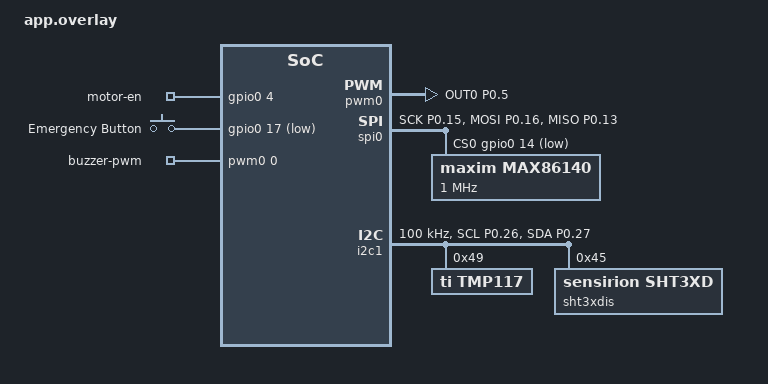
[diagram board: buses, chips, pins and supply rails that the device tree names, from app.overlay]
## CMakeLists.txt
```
# SPDX-License-Identifier: Apache-2.0
cmake_minimum_required(VERSION 3.20.0)

set(CMAKE_EXPORT_COMPILE_COMMANDS ON)
list(APPEND DTS_ROOT ${CMAKE_CURRENT_SOURCE_DIR}/dts)

find_package(Zephyr REQUIRED HINTS $ENV{ZEPHYR_BASE})
project(vitaband_firmware)

# Source logic based on your configs
if(CONFIG_VITABAND_BLINKY_BRINGUP)
  target_sources(app PRIVATE src/main_blinky.c)
elseif(CONFIG_VITABAND_MAX86140_HR_DEMO)
  target_sources(app PRIVATE src/main_max86140_hr.c drivers/src/max86140.c)
elseif(CONFIG_VITABAND_BLE_HR_BODY_TEST)
  target_sources(app PRIVATE src/main_ble_hr_body.c src/state_manager.c drivers/src/max86140.c drivers/src/tmp117.c)
else()
  # Default full application
  target_sources(app PRIVATE
    src/main.c src/power.c src/sensors.c src/haptics.c src/mock_sensors.c
    src/state_manager.c src/test.c drivers/src/max86140.c drivers/src/tmp117.c
    drivers/src/sht3x-dis.c drivers/src/alarm.c drivers/src/buzzer.c 
  )
endif()

if(CONFIG_BT)
  target_sources(app PRIVATE src/ble.c)
endif()

target_include_directories(app PUBLIC inc drivers/inc)
```

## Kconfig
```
# SPDX-License-Identifier: Apache-2.0

menu "VitaBand firmware"

config VITABAND_BLINKY_BRINGUP
	bool "PCB bring-up: minimal GPIO (MOTOR_EN + BUZZER_EN high)"
	default n
	help
	  Link only src/main_blinky.c (no sensors, haptics, shell, BLE). Use
	  prj_bringup.conf and pass exactly one overlay:
	    -DDTC_OVERLAY_FILE=app_bringup_min.overlay
	  printk via Segger RTT on DK.

config VITABAND_PWM_I2C_PIN_SCOPE
	bool "PWM scope on P0.26 / P0.27 (Arduino D14/D15; VitaBand I2C pads)"
	depends on !VITABAND_BLINKY_BRINGUP
	depends on !VITABAND_AMBIENT_PWM_DEMO
	depends on !VITABAND_SPARKFUN_TMP102_DK
	depends on !VITABAND_TMP117_I2C_DEMO
	default n
	help
	  pwm0 channels 1+2 → P0.26 + P0.27 at ~10 kHz (different duty cycles).
	  TWIM/SPI that mux those pins are disabled in app_pwm_i2c_pins_scope.overlay.
	  prj_pwm_i2c_pins_scope.conf + pass that overlay.

config VITABAND_AMBIENT_PWM_DEMO
	bool "SHT3x ambient: printk temp/RH on Segger RTT (I2C)"
	depends on !VITABAND_BLINKY_BRINGUP
	default n
	help
	  Link main_ambient_pwm.c only (Zephyr CONFIG_SHT3XD). Prints temperature and humidity
	  every 500 ms via RTT. Use prj_ambient_pwm.conf and pass overlay(s):
	    -DDTC_OVERLAY_FILE=app_ambient_pwm.overlay
	  On DK without VitaBand wiring, append:
	    app_ambient_pwm_i2c_dkswap.overlay

config VITABAND_MAX86140_HR_DEMO
	bool "MAX86140/41 HR (SPI): printk BPM on Segger RTT"
	depends on !VITABAND_BLINKY_BRINGUP
	depends on !VITABAND_AMBIENT_PWM_DEMO
	depends on !VITABAND_SPARKFUN_TMP102_DK
	depends on !VITABAND_TMP117_I2C_DEMO
	depends on !VITABAND_PWM_I2C_PIN_SCOPE
	default n
	help
	  Links drivers/src/max86140.c + main_max86140_hr.c. Default overlay uses DK
	  Arduino SPI (SPI3, CS=D10). VitaBand: edit app_max86140_hr.overlay for SPI pins + CS GPIO.
	  prj_max86140_hr.conf + app_max86140_hr.overlay.

config VITABAND_MAX86140_CS_GPIO_DEBUG
	bool "MAX86140: toggle CS GPIO at init for scope/meter bring-up"
	depends on VITABAND_MAX86140_HR_DEMO
	depends on GPIO
	default n
	help
	  Uses the same cs-gpios line as SPI (see overlay). Drives pin with
	  gpio_pin_configure (incl. Nordic NRF_GPIO_DRIVE_H0H1) then physical
	  high/low with ~10 s holds and uptime printk for RTT evidence.
	  Enable only for debugging; reboot after use if SPI behaves oddly.

config VITABAND_MAX86140_AGENT_LOG
	bool "MAX86140: NDJSON SPI read logs on RTT (MISO bring-up)"
	depends on VITABAND_MAX86140_HR_DEMO
	default n
	help
	  Emits one JSON line per early spi_transceive (ret, rx0, rx1, reg).
	  Capture with Segger RTT; paste into .cursor/debug-*.log or the chat for analysis.

config VITABAND_MAX86140_HR_PP_TRACE
	bool "MAX86140 HR: rate-limited IR pp/mean/thr/peaks line on RTT"
	depends on VITABAND_MAX86140_HR_DEMO
	default n
	help
	  Once per second (when samples exist), prints n, IR min/max, pp, mean, thr,
	  peak count, BPM — for validating contact and peak gating.

choice VITABAND_MAX86140_HR_PPG_MODE
	prompt "PPG rate (IR channel timing for HR math)"
	depends on VITABAND_MAX86140_HR_DEMO || VITABAND_BLE_HR_BODY_TEST || VITABAND_STATE_MACHINE_FIRMWARE
	default VITABAND_MAX86140_HR_PPG_100_IRRED
	help
	  Datasheet: N=2 (IR+Red) is only defined up to ~100 sps. For ~200 or ~400 sps
	  the part uses N=1 with LED1 (IR) only — no red channel (SpO2 not available).
	  512/1000 sps N=1 also exist; 500 sps is not a specific code (use 400 or 512).

config VITABAND_MAX86140_HR_PPG_100_IRRED
	bool "100 sps IR+Red (N=2, default, SpO2-friendly)"

config VITABAND_MAX86140_HR_PPG_200_IR
	bool "~200 sps IR only (N=1, better peak resolution, more power)"

config VITABAND_MAX86140_HR_PPG_400_IR
	bool "~400 sps IR only (N=1, highest load in this driver)"

endchoice

config VITABAND_MAX86140_HR_WRIST_PROFILE
	bool "MAX86140 HR: wrist-oriented tuning (stronger LED, stricter peaks)"
	depends on VITABAND_MAX86140_HR_DEMO || VITABAND_BLE_HR_BODY_TEST || VITABAND_STATE_MACHINE_FIRMWARE
	default n
	help
	  This board uses MAX86140 over SPI, not the Maxim MAX32664C hub + MAX86141 stack
	  from wrist reference designs. When enabled, the driver starts at higher IR (and red)
	  pulse amplitude for weaker wrist coupling, increases minimum peak spacing (~452 ms),
	  tightens AC margin / crest gating, and pairs with multi-peak / prominence rejects
	  in the driver to reduce motion-induced duplicate peaks.
	  For best temporal resolution on the arm, prefer ~200 or ~400 sps IR-only PPG mode.

config VITABAND_MAX86140_HR_WRIST_BPM_OFFSET
	int "Subtract from displayed BPM when wrist profile (arm wear)"
	depends on VITABAND_MAX86140_HR_WRIST_PROFILE
	range -30 0
	default 0
	help
	  Field testing often shows wrist/arm several BPM above finger or manual count.
	  Leave 0 when validating on the finger. For wrist/arm-only demos, try -6 to -12.
	  Applied only to max86140_read_heartrate() output and PP trace BPM line.

config VITABAND_SPARKFUN_TMP102_DK
	bool "SparkFun TMP102 on nRF52840 DK Arduino I2C (printk RTT)"
	depends on !VITABAND_BLINKY_BRINGUP
	depends on !VITABAND_AMBIENT_PWM_DEMO
	default n
	help
	  Minimal I2C bring-up: TI TMP102 @ 0x48 on DK SDA=P0.26 / SCL=P0.27.
	  prj_sparkfun_tmp102_dk.conf + app_sparkfun_tmp102_dk.overlay.

config VITABAND_TMP117_I2C_DEMO
	bool "TMP117 I2C printk test on Segger RTT"
	depends on !VITABAND_BLINKY_BRINGUP
	depends on !VITABAND_AMBIENT_PWM_DEMO
	depends on !VITABAND_SPARKFUN_TMP102_DK
	default n
	help
	  TI TMP117 via drivers/src/tmp117.c. Default overlay: VitaBand SCL=P0.26 SDA=P0.27.
	  prj_tmp117_i2c.conf + app_tmp117_i2c.overlay; append app_tmp117_i2c_dkswap.overlay for DK.

config VITABAND_BLE_TEST
	bool "BLE test: standalone advertiser + telemetry notify"
	depends on !VITABAND_BLINKY_BRINGUP
	depends on !VITABAND_AMBIENT_PWM_DEMO
	depends on !VITABAND_SPARKFUN_TMP102_DK
	depends on !VITABAND_TMP117_I2C_DEMO
	depends on !VITABAND_MAX86140_HR_DEMO
	depends on !VITABAND_PWM_I2C_PIN_SCOPE
	default n
	help
	  Links src/main_ble_test.c only. Runs Bluetooth peripheral advertising and
	  exercises the custom VitaBand health telemetry GATT notify path with
	  synthetic values, isolated from sensor/haptics drivers.
	  Use with prj_ble_test.conf.

config VITABAND_STATE_MACHINE_FIRMWARE
	bool
	default y if (!VITABAND_BLINKY_BRINGUP && !VITABAND_PWM_I2C_PIN_SCOPE && !VITABAND_AMBIENT_PWM_DEMO && !VITABAND_SPARKFUN_TMP102_DK && !VITABAND_TMP117_I2C_DEMO && !VITABAND_MAX86140_HR_DEMO && !VITABAND_BLE_TEST && !VITABAND_BLE_BODY_TEMP_TEST && !VITABAND_BLE_HR_BODY_TEST)
	default n
	help
	  Y when the default full application (src/main.c) is selected in CMake: state
	  machine, sensors, optional BLE. Used so MAX86140 PPG / wrist Kconfig options
	  apply to the production app, not only the HR demo or ble_hr_body test mains.

config VITABAND_NO_BLE
	bool "Application main without Bluetooth (state machine + sensors)"
	depends on !VITABAND_BLINKY_BRINGUP
	depends on !VITABAND_AMBIENT_PWM_DEMO
	depends on !VITABAND_SPARKFUN_TMP102_DK
	depends on !VITABAND_TMP117_I2C_DEMO
	depends on !VITABAND_MAX86140_HR_DEMO
	depends on !VITABAND_BLE_TEST
	default n
	help
	  Same 1 Hz sensor loop and state machine as production main, but no BT
	  stack, advertising, or GATT. Use with CONFIG_BT=n, for example:

	    west build ... -- -DEXTRA_CONF_FILE=prj_no_ble.conf

config VITABAND_BLE_BODY_TEMP_TEST
	bool "BLE + TMP117 body temp (const HR + ambient in notify)"
	depends on !VITABAND_BLINKY_BRINGUP
	depends on !VITABAND_AMBIENT_PWM_DEMO
	depends on !VITABAND_SPARKFUN_TMP102_DK
	depends on !VITABAND_TMP117_I2C_DEMO
	depends on !VITABAND_MAX86140_HR_DEMO
	depends on !VITABAND_PWM_I2C_PIN_SCOPE
	depends on !VITABAND_BLE_TEST
	depends on !VITABAND_NO_BLE
	default n
	help
	  Links src/main_ble_body_temp.c + drivers/src/tmp117.c + BLE GATT (src/ble.c).
	  Reads body temperature from the devicetree tmp117 node; advertises and notifies
	  the VitaBand health telemetry characteristic with live body °C and fixed HR/ambient.
	  Use prj_ble_body_temp.conf and app_ble_body_temp.overlay (plus DK swap overlay if needed).

config VITABAND_BLE_HR_BODY_TEST
	bool "BLE + MAX86140 HR + TMP117 body temp (telemetry notify)"
	depends on !VITABAND_BLINKY_BRINGUP
	depends on !VITABAND_AMBIENT_PWM_DEMO
	depends on !VITABAND_SPARKFUN_TMP102_DK
	depends on !VITABAND_TMP117_I2C_DEMO
	depends on !VITABAND_MAX86140_HR_DEMO
	depends on !VITABAND_PWM_I2C_PIN_SCOPE
	depends on !VITABAND_BLE_TEST
	depends on !VITABAND_BLE_BODY_TEMP_TEST
	depends on !VITABAND_NO_BLE
	default n
	help
	  Links main_ble_hr_body.c + drivers/src/max86140.c + drivers/src/tmp117.c + BLE GATT.
	  Pick overlay for your board: app_ble_hr_body_dk.overlay (SPI3 + I2C0 TMP117) or
	  app_ble_hr_body_vitaband.overlay (SPI0 MAX86140 + TWIM1 TMP117 on P0.26/P0.27 —
	  TWIM0 cannot run with SPI0 on nRF52840). prj_ble_hr_body.conf selects 100 sps IR+Red PPG.

config VITABAND_PSI_TRACE
	bool "1 Hz RTT: NDJSON line with skin/base_skin/hr/base_hr/psi (verify risk inputs)"
	depends on VITABAND_STATE_MACHINE_FIRMWARE
	default n
	help
	  For field verification: prints one JSON line per state-machine tick (main.c) with
	  the values passed to calculate_risk_score. Capture via Segger RTT.

endmenu

source "Kconfig.zephyr"
```

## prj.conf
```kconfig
# Logging & Console
CONFIG_LOG=y
CONFIG_LOG_MODE_IMMEDIATE=y
CONFIG_LOG_BACKEND_RTT=y
CONFIG_LOG_PRINTK=y
CONFIG_PRINTK=y
CONFIG_CONSOLE=y
CONFIG_RTT_CONSOLE=y
CONFIG_USE_SEGGER_RTT=y
CONFIG_UART_CONSOLE=n
CONFIG_SERIAL=n

# Hardware
CONFIG_GPIO=y
CONFIG_SPI=y
CONFIG_I2C=y
CONFIG_PWM=y
CONFIG_FPU=y
CONFIG_CBPRINTF_FP_SUPPORT=y

# Bluetooth
CONFIG_BT=y
CONFIG_BT_PERIPHERAL=y
CONFIG_BT_SMP=y
CONFIG_BT_DEVICE_NAME="VitaBand BLE"

# App Specific Logic
CONFIG_VITABAND_MAX86140_HR_PPG_100_IRRED=y
```

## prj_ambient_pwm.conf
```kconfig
# Ambient SHT3x → printk on Segger RTT (same J-Link USB as debug/flash; not the COM port).
# Open RTT Viewer in nRF Connect / VS Code, or J-Link RTT Client.
#
# MERGE ORDER: If you combine fragments, list this file LAST, or use only:
#   -DCONF_FILE=prj_ambient_pwm.conf
#
# Recommended (use -d firmware/build so .vscode can find compile_commands.json for F12):
#   west build -b nrf52840dk/nrf52840 firmware -d firmware/build -p always -- \
#     -DCONF_FILE=prj_ambient_pwm.conf -DDTC_OVERLAY_FILE=app_ambient_pwm.overlay
# If I2C still NACKs, try DK-style SDA/SCL swap (list dkswap second):
#   -DDTC_OVERLAY_FILE="app_ambient_pwm.overlay;app_ambient_pwm_i2c_dkswap.overlay"

CONFIG_VITABAND_BLINKY_BRINGUP=n
CONFIG_VITABAND_SPARKFUN_TMP102_DK=n
CONFIG_VITABAND_TMP117_I2C_DEMO=n
CONFIG_VITABAND_AMBIENT_PWM_DEMO=y

CONFIG_GPIO=y
CONFIG_PINCTRL=y
CONFIG_I2C=y
CONFIG_FPU=y

# TWIM backend: do **not** set CONFIG_I2C_NRFX_TWIM here — NCS/Zephyr treats it as a non-prompt
# hidden symbol; it follows devicetree (`compatible = "nordic,nrf-twim"` on &i2c0 in overlay) + `CONFIG_I2C=y`.

CONFIG_LED=n
CONFIG_BT=n
CONFIG_PWM=n
CONFIG_LOG=n

CONFIG_SHELL=n
CONFIG_SPI=n
CONFIG_ADC=n

CONFIG_CLOCK_CONTROL_NRF_K32SRC_RC=y

# VitaBand custom SHT3x driver (drivers/src/sht3x-dis.c) via I2C — leave Zephyr SHT3XD off
# so it does not register on the same devicetree node as `sht3xdis`.
#
# Keep SENSOR off for this custom-driver build. To prevent Kconfig from forcing SENSOR=y,
# disable LF RC calibration path that selects TEMP_NRF5 -> SENSOR.
CONFIG_CLOCK_CONTROL_NRF_K32SRC_RC_CALIBRATION=n

CONFIG_SHT3XD=n
CONFIG_SENSOR=n


CONFIG_CONSOLE=y
CONFIG_PRINTK=y
CONFIG_USE_SEGGER_RTT=y
CONFIG_RTT_CONSOLE=y
CONFIG_UART_CONSOLE=n
CONFIG_SERIAL=n


CONFIG_CBPRINTF_FP_SUPPORT=y
```

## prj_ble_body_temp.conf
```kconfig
# BLE peripheral + TMP117 body temperature → custom health telemetry notify.
# HR and ambient °C are fixed in main_ble_body_temp.c.
#
# Build directory: do not use '&' in -B / -d paths — the shell treats & as a control
# operator and breaks Zephyr's generated path logic (syscalls_subdirs, etc.).
#
# VitaBand I2C wiring (default pinctrl in app_ble_body_temp.overlay):
#   west build ... -DCONF_FILE=prj_ble_body_temp.conf \
#     -DDTC_OVERLAY_FILE=app_ble_body_temp.overlay
#
# nRF52840 DK Arduino I2C (swap SDA/SCL vs overlay):
#   -DDTC_OVERLAY_FILE="app_ble_body_temp.overlay;app_tmp117_i2c_dkswap.overlay"

CONFIG_VITABAND_BLE_BODY_TEMP_TEST=y

CONFIG_BT=y
CONFIG_BT_PERIPHERAL=y
CONFIG_BT_DIS=y
CONFIG_BT_DIS_PNP=n
CONFIG_BT_SMP=y
CONFIG_BT_DEVICE_NAME="VitaBand BLE Body"
CONFIG_BT_DEVICE_APPEARANCE=833

CONFIG_GPIO=y
CONFIG_PINCTRL=y
CONFIG_I2C=y

CONFIG_SPI=n
CONFIG_PWM=n
CONFIG_SHELL=n
CONFIG_LOG=n

CONFIG_CONSOLE=y
CONFIG_PRINTK=y
CONFIG_USE_SEGGER_RTT=y
CONFIG_RTT_CONSOLE=y
CONFIG_UART_CONSOLE=n
CONFIG_SERIAL=n

CONFIG_FPU=y
CONFIG_CBPRINTF_FP_SUPPORT=y

CONFIG_CLOCK_CONTROL_NRF_K32SRC_RC=y
```

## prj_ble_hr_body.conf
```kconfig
# Same Kconfig as default prj.conf (ble-hr-body main). Use this file with -DCONF_FILE=prj_ble_hr_body.conf
# if you prefer not to edit prj.conf.
#
# BLE + MAX86140 HR + TMP117 body temp (live notify). Pick ONE overlay for your board:
#
# Build directory (-d / -B): never use '&' in the path — the shell treats it as
# "run in background" and breaks CMake/Ninja (e.g. use build_hr_body_ble, not build_tmp&hr&ble).
#
#   DK + Maxim on Arduino SPI + TMP117 on Arduino I2C:
#     -DDTC_OVERLAY_FILE=app_ble_hr_body_dk.overlay
#     (TMP117 NACK on DK: append ;app_tmp117_i2c_dkswap.overlay)
#
#   VitaBand PCB (SPI0 MAX86140 + TWIM1 TMP117 on P0.26/P0.27):
#     -DDTC_OVERLAY_FILE=app_ble_hr_body_vitaband.overlay
#
# PPG mode: driver needs 100 sps IR+Red for correct FIFO stride when HR_DEMO is off.
#
# Must be **y** for **src/main_ble_hr_body.c** + printk-only logs (CONFIG_LOG=n below).
# If this is **n**, CMake links **src/main.c**; with LOG=n you will see almost no RTT output.
CONFIG_VITABAND_BLE_HR_BODY_TEST=y
CONFIG_VITABAND_MAX86140_HR_PPG_100_IRRED=y

# Console: only printk() from main_ble_hr_body.c — drivers/state_manager silence LOG_* via preprocessor when above is set.
CONFIG_BOOT_BANNER=n
# Optional wrist tuning: CONFIG_VITABAND_MAX86140_HR_WRIST_PROFILE=y

CONFIG_BT=y
CONFIG_BT_PERIPHERAL=y
CONFIG_BT_DIS=y
CONFIG_BT_DIS_PNP=n
CONFIG_BT_SMP=y
CONFIG_BT_DEVICE_NAME="VitaBand BLE HR+Body"
CONFIG_BT_DEVICE_APPEARANCE=833

CONFIG_GPIO=y
CONFIG_PINCTRL=y
CONFIG_SPI=y
CONFIG_I2C=y
CONFIG_PWM=y

CONFIG_SHELL=n
CONFIG_LOG=n

CONFIG_CONSOLE=y
CONFIG_PRINTK=y
CONFIG_USE_SEGGER_RTT=y
CONFIG_SEGGER_RTT_BUFFER_SIZE_UP=4096
CONFIG_RTT_CONSOLE=y
CONFIG_UART_CONSOLE=n
CONFIG_SERIAL=n

CONFIG_FPU=y
CONFIG_CBPRINTF_FP_SUPPORT=y

CONFIG_CLOCK_CONTROL_NRF_K32SRC_RC=y

CONFIG_VITABAND_BLINKY_BRINGUP=n
CONFIG_VITABAND_AMBIENT_PWM_DEMO=n
CONFIG_VITABAND_SPARKFUN_TMP102_DK=n
CONFIG_VITABAND_TMP117_I2C_DEMO=n
CONFIG_VITABAND_MAX86140_HR_DEMO=n
CONFIG_VITABAND_PWM_I2C_PIN_SCOPE=n
CONFIG_VITABAND_BLE_TEST=n
CONFIG_VITABAND_BLE_BODY_TEMP_TEST=n
```

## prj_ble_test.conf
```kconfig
# Isolated BLE peripheral test. Recommended overlay (disables UART/I2C/SPI/etc.):
#   -DDTC_OVERLAY_FILE=app_ble_test_min.overlay
#
CONFIG_VITABAND_BLE_TEST=y

CONFIG_BT=y
CONFIG_BT_PERIPHERAL=y
CONFIG_BT_DIS=y
CONFIG_BT_DIS_PNP=n
CONFIG_BT_SMP=y
CONFIG_BT_DEVICE_NAME="VitaBand BLE Test"
CONFIG_BT_DEVICE_APPEARANCE=833

# Keep this build isolated from sensor/haptics stacks.
CONFIG_I2C=n
CONFIG_SPI=n
CONFIG_PWM=n
CONFIG_SHELL=n

# RTT console for quick bring-up logs.
CONFIG_LOG=n
CONFIG_CONSOLE=y
CONFIG_PRINTK=y
CONFIG_EARLY_CONSOLE=y
CONFIG_USE_SEGGER_RTT=y
CONFIG_RTT_CONSOLE=y
CONFIG_UART_CONSOLE=n
CONFIG_SERIAL=n

CONFIG_CBPRINTF_FP_SUPPORT=y
```

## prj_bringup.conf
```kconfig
# Minimal bring-up: MOTOR_EN P0.04 high; BUZZER_EN P0.05 PWM; P0.17 button toggles buzzer.
#
# printk goes to Segger RTT (same J-Link USB as debug/flash), not the COM port.
#   Open “RTT” / RTT Viewer in nRF Connect / VS Code, or J-Link RTT Client.
# If you truly need UART on P0.06/P0.08, set CONFIG_SERIAL=y, CONFIG_UART_CONSOLE=y,
# CONFIG_USE_SEGGER_RTT=n, CONFIG_RTT_CONSOLE=n, and restore uart0 in app_bringup_min.overlay.
#
# Recommended (avoids merging with default prj.conf):
#   west build -b nrf52840dk/nrf52840 firmware -d build-bringup -p always -- \
#     -DCONF_FILE=prj_bringup.conf -DDTC_OVERLAY_FILE=app_bringup_min.overlay
# Then from the same directory: west flash
# (If you built the ambient demo before, use a fresh -d build-bringup or -p always so Kconfig picks this file.)
#
# Append style:
#   -DEXTRA_CONF_FILE=prj_bringup.conf -DDTC_OVERLAY_FILE=app_bringup_min.overlay

CONFIG_VITABAND_AMBIENT_PWM_DEMO=n
CONFIG_VITABAND_SPARKFUN_TMP102_DK=n
CONFIG_VITABAND_TMP117_I2C_DEMO=n
CONFIG_VITABAND_BLINKY_BRINGUP=y

CONFIG_GPIO=y
CONFIG_PINCTRL=y
CONFIG_LED=n

CONFIG_BT=n

# printk: RTT console (no UART pins, no COM port selection)
CONFIG_CONSOLE=y
CONFIG_PRINTK=y
CONFIG_USE_SEGGER_RTT=y
CONFIG_RTT_CONSOLE=y
CONFIG_UART_CONSOLE=n

CONFIG_LOG=n
CONFIG_SHELL=n
CONFIG_I2C=n
CONFIG_SPI=n
CONFIG_ADC=n
CONFIG_PWM=y

# UART driver off — saves code and avoids console fighting disabled uart0 in overlay
CONFIG_SERIAL=n

# If your 32 kHz crystal is not populated or fails, use RC instead of crystal
CONFIG_CLOCK_CONTROL_NRF_K32SRC_RC=y
```

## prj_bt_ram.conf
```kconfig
# Smaller Bluetooth RAM footprint while keeping VitaBand hardware + shell.
# Do not use prj_minimal.conf for this app — it disables I2C/SPI/GPIO and causes
# undefined __device_dts_ord_* link errors.
#
#   west build ... -- -DEXTRA_CONF_FILE=prj_bt_ram.conf

CONFIG_BT=y
CONFIG_LOG=y
CONFIG_BT_SMP=y
CONFIG_BT_PERIPHERAL=y
CONFIG_BT_DIS=y
CONFIG_BT_DIS_PNP=n
CONFIG_BT_DEVICE_NAME="VitaBand"
CONFIG_BT_DEVICE_APPEARANCE=833
CONFIG_I2C=y
CONFIG_FPU=y
CONFIG_CBPRINTF_FP_SUPPORT=y
CONFIG_PWM=y
CONFIG_SPI=y

CONFIG_SHELL=y
CONFIG_SHELL_BACKEND_SERIAL=y
CONFIG_NEWLIB_LIBC=y
CONFIG_NEWLIB_LIBC_FLOAT_PRINTF=y
CONFIG_TEST_RANDOM_GENERATOR=y

CONFIG_SIZE_OPTIMIZATIONS=y

CONFIG_BT_RX_STACK_SIZE=1024
CONFIG_BT_HCI_TX_STACK_SIZE_WITH_PROMPT=y
CONFIG_BT_HCI_TX_STACK_SIZE=640
CONFIG_SYSTEM_WORKQUEUE_STACK_SIZE=1100
CONFIG_BT_LONG_WQ_STACK_SIZE=1100
CONFIG_IDLE_STACK_SIZE=128
CONFIG_MAIN_STACK_SIZE=640
CONFIG_ISR_STACK_SIZE=1024

CONFIG_TIMESLICING=n
CONFIG_ASSERT=n

CONFIG_BT_ASSERT=n
CONFIG_BT_DATA_LEN_UPDATE=n
CONFIG_BT_PHY_UPDATE=n
CONFIG_BT_GATT_CACHING=n
CONFIG_BT_GATT_SERVICE_CHANGED=n
CONFIG_BT_GAP_PERIPHERAL_PREF_PARAMS=n
CONFIG_BT_HCI_VS=n
CONFIG_BT_CONN_DYNAMIC_CALLBACKS=n

CONFIG_BT_BUF_EVT_DISCARDABLE_COUNT=1
CONFIG_BT_BUF_EVT_DISCARDABLE_SIZE=45
CONFIG_BT_BUF_EVT_RX_COUNT=4
CONFIG_BT_L2CAP_TX_BUF_COUNT=2
CONFIG_BT_BUF_ACL_TX_COUNT=3
CONFIG_BT_BUF_ACL_TX_SIZE=27

CONFIG_MBEDTLS_PSA_KEY_SLOT_COUNT=5
```

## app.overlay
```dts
#include <zephyr/dt-bindings/gpio/gpio.h>
#include <zephyr/dt-bindings/pinctrl/nrf-pinctrl.h>
#include <zephyr/dt-bindings/spi/spi.h>

/ {
	chosen {
		zephyr,console = &rtt0;
		zephyr,shell-uart = &rtt0;
		zephyr,bt-mon-uart = &rtt0;
	};

	rtt0: rtt_chan0 {
		compatible = "segger,rtt-uart";
		status = "okay";
	};

	aliases {
		emergency-button = &emergency_button;
		buzzer = &pwm_buzzer_led;
		motor-en = &motor_en_line;
	};

	motor_gpios {
		compatible = "gpio-leds";
		motor_en_line: motor_en_line {
			gpios = <&gpio0 4 GPIO_ACTIVE_HIGH>;
			label = "motor-en";
		};
	};

	buttons {
		compatible = "gpio-keys";
		emergency_button: emergency_button {
			gpios = <&gpio0 17 (GPIO_PULL_UP | GPIO_ACTIVE_LOW)>;
			label = "Emergency Button";
		};
	};

	pwm_buzzer_group {
		compatible = "pwm-leds";
		pwm_buzzer_led: pwm_buzzer_led {
			pwms = <&pwm0 0 250000 PWM_POLARITY_NORMAL>;
			label = "buzzer-pwm";
		};
	};
};

/* CRITICAL: Disable everything else to resolve BUILD_ASSERT conflicts */
&uart0 { status = "disabled"; };
&i2c0  { status = "disabled"; }; /* Free up ID 0 for SPI0 */
&spi1  { status = "disabled"; }; /* Free up ID 1 for I2C1 */

&pinctrl {
	spi0_max_default: spi0_max_default {
		group1 {
			psels = <NRF_PSEL(SPIM_SCK, 0, 15)>,
				<NRF_PSEL(SPIM_MOSI, 0, 16)>,
				<NRF_PSEL(SPIM_MISO, 0, 13)>;
		};
	};
	spi0_max_sleep: spi0_max_sleep {
		group1 {
			psels = <NRF_PSEL(SPIM_SCK, 0, 15)>,
				<NRF_PSEL(SPIM_MOSI, 0, 16)>,
				<NRF_PSEL(SPIM_MISO, 0, 13)>;
			low-power-enable;
		};
	};

	i2c1_tmp_default: i2c1_tmp_default {
		group1 {
			psels = <NRF_PSEL(TWIM_SCL, 0, 26)>,
				<NRF_PSEL(TWIM_SDA, 0, 27)>;
			bias-pull-up;
		};
	};
	i2c1_tmp_sleep: i2c1_tmp_sleep {
		group1 {
			psels = <NRF_PSEL(TWIM_SCL, 0, 26)>,
				<NRF_PSEL(TWIM_SDA, 0, 27)>;
			low-power-enable;
		};
	};

	pwm0_default_vb: pwm0_default_vb {
		group1 { psels = <NRF_PSEL(PWM_OUT0, 0, 5)>; };
	};
	pwm0_sleep_vb: pwm0_sleep_vb {
		group1 {
			psels = <NRF_PSEL(PWM_OUT0, 0, 5)>;
			low-power-enable;
		};
	};
};

&pwm0 {
	status = "okay";
	pinctrl-0 = <&pwm0_default_vb>;
	pinctrl-1 = <&pwm0_sleep_vb>;
	pinctrl-names = "default", "sleep";
};

&spi0 {
	compatible = "nordic,nrf-spim";
	status = "okay";
	pinctrl-0 = <&spi0_max_default>;
	pinctrl-1 = <&spi0_max_sleep>;
	pinctrl-names = "default", "sleep";
	cs-gpios = <&gpio0 14 GPIO_ACTIVE_LOW>;
	/delete-property/ duplex;
	max86140: maxim_max86140@0 {
		compatible = "maxim,max86140";
		reg = <0>;
		spi-max-frequency = <1000000>;
	};
};

&i2c1 {
	compatible = "nordic,nrf-twim";
	status = "okay";
	pinctrl-0 = <&i2c1_tmp_default>;
	pinctrl-1 = <&i2c1_tmp_sleep>;
	pinctrl-names = "default", "sleep";
	clock-frequency = <100000>;
	tmp117: tmp117@49 { compatible = "ti,tmp117"; reg = <0x49>; };
	sht3xdis: sht3xdis@45 { compatible = "sensirion,sht3xd"; reg = <0x45>; status = "okay"; };
};
```

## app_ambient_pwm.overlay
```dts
/*
 * I2C0: VitaBand PCB TWIM — **SCL P0.27, SDA P0.26** (same net order as app_tmp117_i2c.overlay).
 * For nRF52840 DK jumpers labeled from older docs (SCL=P0.26, SDA=P0.27), append AFTER this file:
 *   app_ambient_pwm_i2c_dkswap.overlay
 * SHT3x-DIS @ 0x45 (ADDR → VDD; use 0x44 if ADDR → GND).
 * compatible stays sensirion,sht3xd for documentation; prj_ambient_pwm.conf sets
 * CONFIG_SHT3XD=n so only drivers/src/sht3x-dis.c talks to this node.
 * printk: Segger RTT (prj_ambient_pwm.conf) — uart0 disabled like bring-up.
 *
 * west build ... -DCONF_FILE=prj_ambient_pwm.conf -DDTC_OVERLAY_FILE=app_ambient_pwm.overlay
 */
#include <zephyr/dt-bindings/pinctrl/nrf-pinctrl.h>

/ {
	chosen {
		/delete-property/ zephyr,console;
		/delete-property/ zephyr,shell-uart;
		/delete-property/ zephyr,uart-mcumgr;
		/delete-property/ zephyr,bt-mon-uart;
		/delete-property/ zephyr,bt-c2h-uart;
	};

	pwmleds {
		status = "disabled";
	};
};

&uart0 {
	status = "disabled";
};

&adc {
	status = "disabled";
};

&i2c1 {
	status = "disabled";
};

&spi0 {
	status = "disabled";
};

&spi1 {
	status = "disabled";
};

&spi3 {
	status = "disabled";
};

&pinctrl {
	i2c0_vb_default: i2c0_vb_default {
		group1 {
			psels = <NRF_PSEL(TWIM_SCL, 0, 27)>,
				<NRF_PSEL(TWIM_SDA, 0, 26)>;
			bias-pull-up;
		};
	};

	i2c0_vb_sleep: i2c0_vb_sleep {
		group1 {
			psels = <NRF_PSEL(TWIM_SCL, 0, 27)>,
				<NRF_PSEL(TWIM_SDA, 0, 26)>;
			low-power-enable;
		};
	};
};

&i2c0 {
	status = "okay";
	compatible = "nordic,nrf-twim";
	pinctrl-0 = <&i2c0_vb_default>;
	pinctrl-1 = <&i2c0_vb_sleep>;
	pinctrl-names = "default", "sleep";
	clock-frequency = <100000>;

	/* SHT3x Sensor */
	sht3xdis: sht3xdis@45 {
		compatible = "sensirion,sht3xd";
		reg = <0x45>;
		status = "okay";
	};

	/* TMP117 Sensor */
	tmp117: tmp117@49 {
		compatible = "ti,tmp117";
		reg = <0x49>;
		status = "okay";
	};
};
```

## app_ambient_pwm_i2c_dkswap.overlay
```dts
/*
 * Alternate I2C0 pinmux: **SCL P0.26, SDA P0.27** (previous ambient default; opposite VitaBand PCB).
 * Append AFTER app_ambient_pwm.overlay only if your wires / labels expect that mapping:
 *
 *   west build ... -- -DDTC_OVERLAY_FILE="app_ambient_pwm.overlay;app_ambient_pwm_i2c_dkswap.overlay"
 */

#include <zephyr/dt-bindings/pinctrl/nrf-pinctrl.h>

&pinctrl {
	i2c0_ambient: i2c0_ambient {
		group1 {
			psels = <NRF_PSEL(TWIM_SCL, 0, 26)>,
				<NRF_PSEL(TWIM_SDA, 0, 27)>;
			bias-pull-up;
		};
	};

	i2c0_ambient_sleep: i2c0_ambient_sleep {
		group1 {
			psels = <NRF_PSEL(TWIM_SCL, 0, 26)>,
				<NRF_PSEL(TWIM_SDA, 0, 27)>;
			low-power-enable;
		};
	};
};
```

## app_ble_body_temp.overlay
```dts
/*
 * TMP117 on I2C0 for **BLE body-temperature telemetry** demo (same pinmux as TMP117 bring-up).
 *
 * nRF52840 DK (Arduino I2C): append second overlay:
 *   app_tmp117_i2c_dkswap.overlay
 *
 * west build ... -DCONF_FILE=prj_ble_body_temp.conf \
 *   -DDTC_OVERLAY_FILE=app_ble_body_temp.overlay
 */

#include <zephyr/dt-bindings/pinctrl/nrf-pinctrl.h>

/ {
	chosen {
		/delete-property/ zephyr,console;
		/delete-property/ zephyr,shell-uart;
		/delete-property/ zephyr,uart-mcumgr;
		/delete-property/ zephyr,bt-mon-uart;
		/delete-property/ zephyr,bt-c2h-uart;
	};

	pwmleds {
		status = "disabled";
	};
};

&uart0 {
	status = "disabled";
};

&adc {
	status = "disabled";
};

&i2c1 {
	status = "disabled";
};

&spi0 {
	status = "disabled";
};

&spi1 {
	status = "disabled";
};

&spi2 {
	status = "disabled";
};

&spi3 {
	status = "disabled";
};

&pwm0 {
	status = "disabled";
};

&pinctrl {
	i2c0_tmp117: i2c0_tmp117 {
		group1 {
			psels = <NRF_PSEL(TWIM_SCL, 0, 26)>,
				<NRF_PSEL(TWIM_SDA, 0, 27)>;
			bias-pull-up;
		};
	};

	i2c0_tmp117_sleep: i2c0_tmp117_sleep {
		group1 {
			psels = <NRF_PSEL(TWIM_SCL, 0, 26)>,
				<NRF_PSEL(TWIM_SDA, 0, 27)>;
			low-power-enable;
		};
	};
};

&i2c0 {
	status = "okay";
	compatible = "nordic,nrf-twim";
	pinctrl-0 = <&i2c0_tmp117>;
	pinctrl-1 = <&i2c0_tmp117_sleep>;
	pinctrl-names = "default", "sleep";
	clock-frequency = <100000>;

	tmp117: tmp117@49 {
		compatible = "ti,tmp117";
		reg = <0x49>;
	};
};
```

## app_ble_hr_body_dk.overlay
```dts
/*
 * nRF52840 DK: MAX86140 on **SPI3** (Arduino D11–D13 + D10 CS) + TMP117 on **I2C0**
 * (Arduino D14/D15 — same pins as app_tmp117_i2c.overlay).
 *
 * SPI3 and TWIM0 are independent blocks; both can be enabled.
 *
 * If TMP117 NACKs on DK, append pin swap:
 *   -DDTC_OVERLAY_FILE="app_ble_hr_body_dk.overlay;app_tmp117_i2c_dkswap.overlay"
 *
 * west build ... -DCONF_FILE=prj_ble_hr_body.conf \
 *   -DDTC_OVERLAY_FILE=app_ble_hr_body_dk.overlay
 */

#include <zephyr/dt-bindings/pinctrl/nrf-pinctrl.h>
#include <zephyr/dt-bindings/spi/spi.h>

/ {
	/* prj_ble_hr_body.conf: CONFIG_RTT_CONSOLE=y + CONFIG_SERIAL=n — route printk to Segger RTT */
	chosen {
		zephyr,console = &rtt0;
		zephyr,bt-mon-uart = &rtt0;
		zephyr,bt-c2h-uart = &rtt0;
		/delete-property/ zephyr,shell-uart;
		/delete-property/ zephyr,uart-mcumgr;
	};

	rtt0: rtt_chan0 {
		compatible = "segger,rtt-uart";
		status = "okay";
	};

	pwmleds {
		status = "disabled";
	};

	aliases {
		emergency-button = &emergency_button;
		buzzer = &pwm_buzzer_led;
	};

	buttons {
		compatible = "gpio-keys";
		emergency_button: emergency_button {
			gpios = <&gpio0 17 (GPIO_PULL_UP | GPIO_ACTIVE_LOW)>;
			label = "Emergency Button";
		};
	};

	pwm_buzzer_group {
		compatible = "pwm-leds";
		pwm_buzzer_led: pwm_buzzer_led {
			pwms = <&pwm0 0 250000 PWM_POLARITY_NORMAL>;
			label = "buzzer-pwm";
		};
	};
};

&uart0 {
	status = "disabled";
};

&adc {
	status = "disabled";
};

&i2c1 {
	status = "disabled";
};

&spi0 {
	status = "disabled";
};

&spi1 {
	status = "disabled";
};

&spi2 {
	status = "disabled";
};

&pinctrl {
	i2c0_tmp117: i2c0_tmp117 {
		group1 {
			psels = <NRF_PSEL(TWIM_SCL, 0, 26)>,
				<NRF_PSEL(TWIM_SDA, 0, 27)>;
			bias-pull-up;
		};
	};

	i2c0_tmp117_sleep: i2c0_tmp117_sleep {
		group1 {
			psels = <NRF_PSEL(TWIM_SCL, 0, 26)>,
				<NRF_PSEL(TWIM_SDA, 0, 27)>;
			low-power-enable;
		};
	};

	pwm0_buzzer_dk: pwm0_buzzer_dk {
		group1 {
			psels = <NRF_PSEL(PWM_OUT0, 0, 5)>;
			nordic,drive-mode = <NRF_DRIVE_H0H1>;
		};
	};

	pwm0_buzzer_dk_sleep: pwm0_buzzer_dk_sleep {
		group1 {
			psels = <NRF_PSEL(PWM_OUT0, 0, 5)>;
			low-power-enable;
		};
	};
};

&pwm0 {
	status = "okay";
	pinctrl-0 = <&pwm0_buzzer_dk>;
	pinctrl-1 = <&pwm0_buzzer_dk_sleep>;
	pinctrl-names = "default", "sleep";
};

&i2c0 {
	status = "okay";
	compatible = "nordic,nrf-twim";
	pinctrl-0 = <&i2c0_tmp117>;
	pinctrl-1 = <&i2c0_tmp117_sleep>;
	pinctrl-names = "default", "sleep";
	clock-frequency = <100000>;

	tmp117: tmp117@49 {
		compatible = "ti,tmp117";
		reg = <0x49>;
	};
};

/* Board enables SPI3 + CS=D10; add Maxim node */
&spi3 {
	max86140: maxim_max86140@0 {
		compatible = "maxim,max86140";
		reg = <0>;
		spi-max-frequency = <8000000>;
		frame-format = <SPI_FRAME_FORMAT_MOTOROLA>;
	};
};
```

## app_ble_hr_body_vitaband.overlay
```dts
/*
 * VitaBand PCB: MAX86140 on **SPI0** + TMP117 + **SHT3x-DIS** on **TWIM1** (P0.26 / P0.27).
 * SHT3x is required in DT when linking **main.c** + **drivers/src/sht3x-dis.c** (same bus as
 * **app_vitaband_base.overlay**). **main_ble_hr_body.c** does not read ambient humidity.
 *
 * west build ... -DCONF_FILE=prj_ble_hr_body.conf \
 *   -DDTC_OVERLAY_FILE=app_ble_hr_body_vitaband.overlay
 *
 * Console: Segger RTT (`rtt0`) — required for **prj_full_vitaband.conf** (CONFIG_RTT_CONSOLE=y,
 * CONFIG_SERIAL=n). Without **zephyr,console = &rtt0**, printk/LOG produce no output after the
 * early boot banner.
 *
 * main.c + haptics.c need alias **motor-en** (not used by main_ble_hr_body.c, which toggles P0.04
 * via gpio0 directly). led_2 is remapped off P0.04 so motor-en can use MOTOR_EN on P0.04.
 */

#include <zephyr/dt-bindings/gpio/gpio.h>
#include <zephyr/dt-bindings/pinctrl/nrf-pinctrl.h>
#include <zephyr/dt-bindings/spi/spi.h>

/ {
	chosen {
		zephyr,console = &rtt0;
		zephyr,bt-mon-uart = &rtt0;
		zephyr,bt-c2h-uart = &rtt0;
		/delete-property/ zephyr,shell-uart;
		/delete-property/ zephyr,uart-mcumgr;
	};

	rtt0: rtt_chan0 {
		compatible = "segger,rtt-uart";
		status = "okay";
	};

	leds {
		status = "disabled";
		led0: led_0 { status = "disabled"; gpios = <&gpio0 2 GPIO_ACTIVE_LOW>; };
		led1: led_1 { status = "disabled"; gpios = <&gpio0 3 GPIO_ACTIVE_LOW>; };
		/* Was P0.04 — that pin is MOTOR_EN; park DK led_2 on NC (change if P0.28 is routed). */
		led2: led_2 { status = "disabled"; gpios = <&gpio0 28 GPIO_ACTIVE_LOW>; };
		led3: led_3 { status = "disabled"; gpios = <&gpio0 7 GPIO_ACTIVE_LOW>; };
	};

	pwmleds {
		status = "disabled";
		pwm_led0: pwm_led_0 { status = "disabled"; };
	};

	aliases {
		emergency-button = &emergency_button;
		buzzer = &pwm_buzzer_led;
		motor-en = &motor_en_line;
	};

	/* Haptics / full main.c — same as app_vitaband_base.overlay */
	motor_gpios {
		compatible = "gpio-leds";
		motor_en_line: motor_en_line {
			gpios = <&gpio0 4 GPIO_ACTIVE_HIGH>;
			label = "motor-en";
		};
	};

	buttons {
		compatible = "gpio-keys";
		emergency_button: emergency_button {
			gpios = <&gpio0 17 (GPIO_PULL_UP | GPIO_ACTIVE_LOW)>;
			label = "Emergency Button";
		};
	};

	pwm_buzzer_group {
		compatible = "pwm-leds";
		pwm_buzzer_led: pwm_buzzer_led {
			pwms = <&pwm0 0 250000 PWM_POLARITY_NORMAL>;
			label = "buzzer-pwm";
		};
	};
};

&uart0 {
	status = "disabled";
};

&adc {
	status = "disabled";
};

/* SPIM0 uses the same peripheral instance as TWIM0 — keep TWIM0 off. */
&i2c0 {
	status = "disabled";
};

&spi1 {
	status = "disabled";
};

&spi2 {
	status = "disabled";
};

&spi3 {
	status = "disabled";
};

&pinctrl {
	spi0_max86140_vb: spi0_max86140_vb {
		group1 {
			psels = <NRF_PSEL(SPIM_SCK, 0, 15)>,
				<NRF_PSEL(SPIM_MOSI, 0, 16)>;
			nordic,drive-mode = <NRF_DRIVE_H0H1>;
		};
		group2 {
			psels = <NRF_PSEL(SPIM_MISO, 0, 13)>;
		};
	};

	spi0_max86140_vb_sleep: spi0_max86140_vb_sleep {
		group1 {
			psels = <NRF_PSEL(SPIM_SCK, 0, 15)>,
				<NRF_PSEL(SPIM_MOSI, 0, 16)>;
			low-power-enable;
		};
		group2 {
			psels = <NRF_PSEL(SPIM_MISO, 0, 13)>;
			low-power-enable;
		};
	};

	i2c1_tmp117_vb: i2c1_tmp117_vb {
		group1 {
			psels = <NRF_PSEL(TWIM_SCL, 0, 26)>,
				<NRF_PSEL(TWIM_SDA, 0, 27)>;
			bias-pull-up;
		};
	};

	i2c1_tmp117_vb_sleep: i2c1_tmp117_vb_sleep {
		group1 {
			psels = <NRF_PSEL(TWIM_SCL, 0, 26)>,
				<NRF_PSEL(TWIM_SDA, 0, 27)>;
			low-power-enable;
		};
	};

	pwm0_buzzer_vb: pwm0_buzzer_vb {
		group1 {
			psels = <NRF_PSEL(PWM_OUT0, 0, 5)>;
			nordic,drive-mode = <NRF_DRIVE_H0H1>;
		};
	};

	pwm0_buzzer_vb_sleep: pwm0_buzzer_vb_sleep {
		group1 {
			psels = <NRF_PSEL(PWM_OUT0, 0, 5)>;
			low-power-enable;
		};
	};
};

&pwm0 {
	status = "okay";
	pinctrl-0 = <&pwm0_buzzer_vb>;
	pinctrl-1 = <&pwm0_buzzer_vb_sleep>;
	pinctrl-names = "default", "sleep";
};

&spi0 {
	compatible = "nordic,nrf-spim";
	status = "okay";
	pinctrl-0 = <&spi0_max86140_vb>;
	pinctrl-1 = <&spi0_max86140_vb_sleep>;
	pinctrl-names = "default", "sleep";
	cs-gpios = <&gpio0 14 GPIO_ACTIVE_LOW>;

	max86140: maxim_max86140@0 {
		compatible = "maxim,max86140";
		reg = <0>;
		spi-max-frequency = <1000000>;
		frame-format = <SPI_FRAME_FORMAT_MOTOROLA>;
	};
};

&i2c1 {
	status = "okay";
	compatible = "nordic,nrf-twim";
	pinctrl-0 = <&i2c1_tmp117_vb>;
	pinctrl-1 = <&i2c1_tmp117_vb_sleep>;
	pinctrl-names = "default", "sleep";
	clock-frequency = <100000>;

	tmp117: tmp117@49 {
		compatible = "ti,tmp117";
		reg = <0x49>;
	};

	/* Same I²C as full app; **prj_full_vitaband.conf** sets CONFIG_SHT3XD=n for **drivers/src/sht3x-dis.c** */
	sht3xdis: sht3xdis@45 {
		compatible = "sensirion,sht3xd";
		reg = <0x45>;
		status = "okay";
	};
};
```

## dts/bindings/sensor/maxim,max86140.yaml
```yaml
# SPDX-License-Identifier: Apache-2.0
#
# Out-of-tree binding so SPI_CONFIG_DT / SPI_DT_SPEC_GET see spi-device properties
# (spi-max-frequency, frame-format, duplex, spi-cpol, …). Upstream Zephyr has no
# maxim,max86140.yaml — without this, devicetree does not emit DT_PROP(..., frame_format).

description: Maxim MAX86140/MAX86141 optical PPG sensor on SPI

compatible: "maxim,max86140"

include: spi-device.yaml
```

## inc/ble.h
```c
/*
 * Bluetooth LE: custom GATT health service (telemetry notify) + UUIDs for advertising.
 * GATT = Generic Attribute Profile (BLE services/characteristics/descriptors).
 */

#ifndef BLE_H
#define BLE_H

#include <stdint.h>
#include <stdbool.h>

#include <zephyr/bluetooth/uuid.h>

#include <state_manager.h>

/* 128-bit UUIDs (Zephyr BT_UUID_128_ENCODE byte order) */
#define VITABAND_HEALTH_SVC_UUID_VAL                                                       \
	BT_UUID_128_ENCODE(0x8b4cb001, 0x7a2e, 0x4c91, 0xb3d6, 0x1c0de5a1b2c3)

#define VITABAND_HEALTH_CHR_TELEMETRY_UUID_VAL                                             \
	BT_UUID_128_ENCODE(0x8b4cb002, 0x7a2e, 0x4c91, 0xb3d6, 0x1c0de5a1b2c3)

#define VITABAND_CALIBRATION_CHRC_UUID_VAL \
    BT_UUID_128_ENCODE(0x8b4cb003, 0x7a2e, 0x4c91, 0xb3d6, 0x1c0de5a1b2c3)

/*
 * Canonical UUID strings (CoreBluetooth / nRF Connect):
 *   Service:    8b4cb001-7a2e-4c91-b3d6-1c0de5a1b2c3
 *   Telemetry:  8b4cb002-7a2e-4c91-b3d6-1c0de5a1b2c3
 */

#define VITABAND_HEALTH_STATE_OK        0U
#define VITABAND_HEALTH_STATE_WARNING   1U
#define VITABAND_HEALTH_STATE_CRITICAL  2U
#define VITABAND_HEALTH_STATE_EMERGENCY   3U

#define VITABAND_HEALTH_NOTIFY_PAYLOAD_LEN 15U

/*
 * Notification payload (15 octets, little-endian):
 *   offset 0:       uint8  heart rate (bpm)
 *   offset 1..4:    float  body (skin) temperature (°C)
 *   offset 5..8:    float  ambient temperature (°C)
 *   offset 9:       uint8  state (0=OK, 1=WARNING, 2=CRITICAL, 3=EMERGENCY)
 *   offset 10..13:  uint32 uptime since boot (ms)
 *   offset 14:      uint8  risk score PSI 0..10 from calculate_risk_score (0 if unknown)
 */

bool vitaband_health_notify_enabled(void);

/** @brief Notify subscribed centrals; no-op if CCC notify not enabled. */
int vitaband_health_notify(uint8_t hr_bpm, float body_temp_c, float ambient_temp_c,
			   vitaband_state_t state, uint8_t risk_score);

#endif /* BLE_H */
```

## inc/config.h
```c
/*
 * Configuration File
 * Customize all firmware parameters here
 */

#ifndef CONFIG_H
#define CONFIG_H

/* Set to 0 on hardware when sensor reads should use I2C/SPI drivers only. */
#define CONFIG_USE_MOCK_SENSORS 0

// ============================================================================
// MEASUREMENT INTERVALS
// ============================================================================
#define HEART_RATE_INTERVAL_MS      1000    // 1 Hz - adjust as needed
#define TEMPERATURE_INTERVAL_MS     5000    // 0.2 Hz
#define BLE_UPDATE_INTERVAL_MS      1000    // How often to send BLE updates

// ============================================================================
// SENSOR CONFIGURATION
// ============================================================================

// Heart Rate Sensor
#define HR_SENSOR_TYPE              MAX30102
#define HR_SENSOR_I2C_ADDR          0x57
#define HR_LED_CURRENT_MA           50      // LED current (mA)
#define HR_SAMPLE_RATE_HZ           100     // Sampling rate
#define HR_PULSE_WIDTH_US           411     // LED pulse width

// Temperature Sensor
#define TEMP_SENSOR_TYPE            TMP117
#define TEMP_SENSOR_I2C_ADDR        0x48
#define TEMP_SENSOR_RESOLUTION      0.0078125  // Resolution in °C

// ============================================================================
// BLUETOOTH CONFIGURATION
// ============================================================================
#define BLE_DEVICE_NAME             "Wearable"
#define BLE_ADV_INTERVAL_MS         100     // Advertising interval
#define BLE_CONN_INTERVAL_MS        50      // Min connection interval
#define BLE_CONN_TIMEOUT_MS         4000    // Connection timeout

// BLE: custom VitaBand health service (see ble.h); no standard HRS/BAS.
#define USE_STANDARD_HR_SERVICE     0
#define USE_STANDARD_TEMP_SERVICE   0
#define USE_CUSTOM_SERVICE          1

// ============================================================================
// POWER MANAGEMENT
// ============================================================================
#define ENABLE_LOW_POWER_MODE       1       // Enable low power between measurements
#define BATTERY_LOW_THRESHOLD       10      // Battery low warning (%)
#define BATTERY_CRITICAL_THRESHOLD  5       // Battery critical (%)

// Power saving features
#define REDUCE_BLE_TX_POWER         1       // Reduce TX power to save battery
#define BLE_TX_POWER_DBM            0       // TX power in dBm (-40 to +4)
#define ENABLE_MOTION_WAKE          1       // Wake on motion (if accelerometer available)

// ============================================================================
// SYSTEM CONFIGURATION
// ============================================================================
#define SYSTEM_CLOCK_HZ             64000000  // System clock frequency
#define SYSTICK_FREQ_HZ             1000      // SysTick frequency (1ms ticks)

// Debug configuration
#define DEBUG_ENABLED               0         // Enable debug output
#define DEBUG_UART_BAUDRATE         115200

// ============================================================================
// SENSOR LIMITS AND VALIDATION
// ============================================================================
#define HR_MIN_BPM                  30        // Minimum valid heart rate
#define HR_MAX_BPM                  220       // Maximum valid heart rate
#define TEMP_MIN_C                  30.0      // Minimum valid temperature
#define TEMP_MAX_C                  45.0      // Maximum valid temperature

// ============================================================================
// DATA BUFFERING
// ============================================================================
#define ENABLE_DATA_LOGGING         0         // Log data to flash
#define DATA_BUFFER_SIZE            100       // Number of measurements to buffer
#define FLASH_LOG_INTERVAL_SEC      3600      // Write to flash every hour

// ============================================================================
// FEATURES
// ============================================================================
#define ENABLE_BATTERY_SERVICE      0         // No battery level sense on hardware
#define ENABLE_DEVICE_INFO_SERVICE  1         // BLE Device Information Service
#define ENABLE_OTA_UPDATE           0         // Over-the-air firmware update
#define ENABLE_RTC                  0         // Real-time clock for timestamps

#endif // CONFIG_H
```

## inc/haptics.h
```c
/*
 * Haptics Module - Alert System
 * Header File
 */

#ifndef HAPTICS_H_
#define HAPTICS_H_

#include <zephyr/types.h>
#include <stdbool.h>
#include <config.h>

/* Include state manager for device_state_t */
/* TODO: If you don't have state_manager.h yet, define states here: */
typedef enum {
    STATE_OK = 0,
    STATE_WARNING = 1,
    STATE_EMERGENCY = 2,
    NUM_DEVICE_STATES = 3
} device_state_t;

/* ========================================================================== */
/* LED PATTERNS                                                               */
/* ========================================================================== */

typedef enum {
    LED_OFF = 0,          /* LED off */
    LED_STEADY,           /* Solid on */
    LED_SLOW_BLINK,       /* Blink at 1 Hz (500ms on, 500ms off) */
    LED_FAST_BLINK,       /* Blink at 4 Hz (125ms on, 125ms off) */
    LED_PULSE             /* Short pulse (100ms on, 900ms off) */
} led_pattern_t;

/* ========================================================================== */
/* HAPTIC PATTERN STRUCTURE                                                   */
/* ========================================================================== */

typedef struct {
    /* LED Configuration */
    bool led_enabled;
    led_pattern_t led_pattern;
    uint16_t led_duration_ms;  /* 0 = continuous */
    
    /* Vibration Configuration */
    bool vibration_enabled;
    uint8_t vibration_intensity;  /* 0-100% */
    uint16_t vibration_duration_ms;
    
    /* Buzzer Configuration */
    bool buzzer_enabled;
    uint16_t buzzer_frequency_hz;  /* 1000-8000 Hz typical, 4000 Hz = loudest */
    uint16_t buzzer_duration_ms;
} haptic_pattern_t;

/* ========================================================================== */
/* INITIALIZATION                                                             */
/* ========================================================================== */

/**
 * @brief Initialize haptics system
 * 
 * Sets up GPIO for LED and motor; buzzer uses hardware PWM (see app.overlay).
 * Loads default alert patterns.
 * 
 * @return 0 on success, negative errno on failure
 */
int haptics_init(void);

/* ========================================================================== */
/* PATTERN MANAGEMENT                                                         */
/* ========================================================================== */

/**
 * @brief Set alert pattern for a device state
 * 
 * Allows user to customize which alerts (LED, vibration, buzzer)
 * are triggered for each health state.
 * 
 * @param state Device state (OK, WARNING, EMERGENCY)
 * @param pattern Alert pattern configuration
 */
void haptics_set_pattern(device_state_t state, const haptic_pattern_t *pattern);

/**
 * @brief Get current alert pattern for a state
 * 
 * @param state Device state
 * @param pattern Output buffer for pattern
 */
void haptics_get_pattern(device_state_t state, haptic_pattern_t *pattern);

/**
 * @brief Reset all patterns to factory defaults
 * 
 * OK: LED steady, no vibration, no buzzer
 * WARNING: LED slow blink, brief vibration, 2kHz beep
 * EMERGENCY: LED fast blink, strong vibration, 4kHz beep
 */
void haptics_reset_to_defaults(void);

/* ========================================================================== */
/* ALERT TRIGGERING                                                           */
/* ========================================================================== */

/**
 * @brief Trigger alert for a device state
 * 
 * Activates LED, vibration, and/or buzzer according to
 * the configured pattern for this state.
 * 
 * Call this when transitioning to a new state.
 * 
 * @param state Device state to alert for
 */
void haptics_trigger_alert(device_state_t state);

/**
 * @brief Stop all active alerts
 * 
 * Turns off LED, vibration, and buzzer.
 * Useful when manually clearing an alert.
 */
void haptics_stop_all(void);

/* ========================================================================== */
/* MANUAL CONTROL (for testing or special alerts)                            */
/* ========================================================================== */

/**
 * @brief Manually control LED
 * 
 * @param on true = LED on, false = LED off
 */
void haptics_led_set(bool on);

/**
 * @brief Start LED blink pattern
 * 
 * @param pattern Blink pattern (SLOW, FAST, PULSE)
 */
void haptics_led_blink(led_pattern_t pattern);

/**
 * @brief Trigger vibration pulse
 * 
 * @param intensity Vibration strength (0-100%)
 * @param duration_ms How long to vibrate (0 = until stopped)
 */
void haptics_vibration_pulse(uint8_t intensity, uint16_t duration_ms);

/**
 * @brief Trigger buzzer beep
 * 
 * @param frequency_hz Tone frequency (4000 Hz = resonant/loudest)
 * @param duration_ms How long to beep (0 = until stopped)
 */
void haptics_buzzer_beep(uint16_t frequency_hz, uint16_t duration_ms);

/**
 * @brief Stop buzzer tone (PWM off). Does not change LED or vibration.
 */
void haptics_buzzer_stop(void);

/* ========================================================================== */
/* PATTERN SERIALIZATION (for BLE settings)                                  */
/* ========================================================================== */

/**
 * @brief Convert pattern to byte array
 * 
 * Packs haptic pattern into 13 bytes for BLE transmission.
 * Use this when sending settings to phone app.
 * 
 * @param pattern Pattern to serialize
 * @param buffer Output buffer (must be >= 13 bytes)
 */
void haptics_pattern_to_bytes(const haptic_pattern_t *pattern, uint8_t *buffer);

/**
 * @brief Convert byte array to pattern
 * 
 * Unpacks haptic pattern from 13-byte BLE data.
 * Use this when receiving settings from phone app.
 * 
 * @param pattern Output pattern
 * @param buffer Input buffer (must be 13 bytes)
 */
void haptics_pattern_from_bytes(haptic_pattern_t *pattern, const uint8_t *buffer);

/* ========================================================================== */
/* DIAGNOSTICS                                                                */
/* ========================================================================== */

/**
 * @brief Test all haptic outputs
 * 
 * Runs a test sequence:
 * - Blinks LED
 * - Pulses vibration
 * - Beeps buzzer at different frequencies
 * 
 * Useful for hardware verification.
 */
void haptics_test_all(void);

/**
 * @brief Print pattern configuration
 * 
 * Logs the current alert pattern for a state.
 * 
 * @param state Device state to print
 */
void haptics_print_pattern(device_state_t state);

#endif /* HAPTICS_H_ */
```

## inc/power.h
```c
/*
 * Power helpers — no battery fuel gauge on this hardware (no usable Vbat ADC).
 */

#ifndef POWER_H
#define POWER_H

#include <stdint.h>
#include <stdbool.h>

typedef enum {
	POWER_MODE_ACTIVE,
	POWER_MODE_IDLE,
	POWER_MODE_SLEEP,
	POWER_MODE_SHUTDOWN
} power_mode_t;

void power_management_init(void);

void init_system_clock(void);
uint32_t get_system_time_ms(void);

void set_power_mode(power_mode_t mode);
power_mode_t get_current_power_mode(void);
void enter_low_power_mode(void);

void power_shutdown_gracefully(void);

#endif /* POWER_H */
```

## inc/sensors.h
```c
/*
 * Sensor Interface
 * Handles heart rate and temperature sensor operations
 */

#ifndef SENSORS_H
#define SENSORS_H

#include <stdbool.h>
#include <stdint.h>
#include <config.h>
#include "tmp117.h"
#include "sht3x-dis.h"
#include "max86140.h"


typedef enum {
    BODY,    
    AMBIENT
} temp_sensor_type_t;

typedef struct {
    bool body;
    bool ambient;
} temp_sensor_states_t;

// Sensor initialization
 
/**
 * @brief Initialize the heart rate sensor (MAX86140).
 */
void heart_rate_sensor_init(void);
 
/**
 * @brief Initialize a temperature sensor.
 * @param sensor BODY (TMP117) or AMBIENT (SHT3x).
 */
void temperature_sensor_init(temp_sensor_type_t sensor);
 
// Readings 
 
/**
 * @brief Read heart rate in BPM.
 * @return BPM, or 0 if the sensor is not initialized.
 */
uint8_t read_heart_rate(void);
 
/**
 * @brief Read relative humidity in percent.
 * @return Humidity %, or 0.0 if the sensor is not initialized.
 */
float read_humidity(void);
 
/**
 * @brief Read temperature in °C.
 * @param sensor BODY or AMBIENT.
 * @return Temperature in °C, or -99.0 on error / not initialized.
 */
float read_temperature(temp_sensor_type_t sensor);
 
// Calibration 
 
/**
 * @brief Mark the heart rate sensor as calibrated.
 */
void calibrate_heart_rate_sensor(void);
 
/**
 * @brief Mark a temperature sensor as calibrated.
 * @param sensor BODY or AMBIENT.
 */
void calibrate_temperature_sensor(temp_sensor_type_t sensor);
 
// Readiness checks 
 
/**
 * @brief Returns true if the HR sensor is initialized AND calibrated.
 */
bool is_hr_sensor_ready(void);
 
/**
 * @brief Returns true if the given temp sensor is initialized AND calibrated.
 * @param sensor BODY or AMBIENT.
 */
bool is_temp_sensor_ready(temp_sensor_type_t sensor);

/** True after successful heart_rate_sensor_init(). */
bool sensors_hr_hw_initialized(void);

/** True after successful temperature_sensor_init(BODY). */
bool sensors_body_temp_hw_initialized(void);

/** True after successful temperature_sensor_init(AMBIENT). */
bool sensors_ambient_temp_hw_initialized(void);

#endif // SENSORS_H
```
